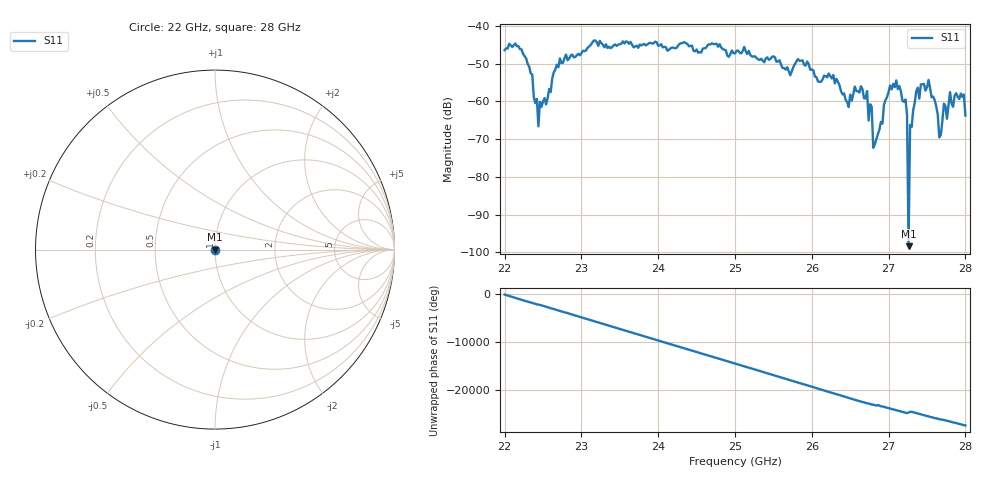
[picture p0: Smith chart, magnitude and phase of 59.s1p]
#  HZ  S  RI  R  50.00
! Rohde & Schwarz ZVA40 4Ports - Version 3.90 - 1145.1110k42 SN: 100403
! Date: 2023-10-04 10:50:13
! Measurement: S12
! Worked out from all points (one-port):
!   301 points, 22 GHz to 28 GHz, reference 50 ohm
!   lowest |S11| = -98.4 dB at 27.26 GHz (marker M1), VSWR 1.00, Z = 50 + j0.000189 ohm
!   |S11| at or under -10 dB: start of sweep to end of sweep
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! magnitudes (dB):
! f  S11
! 22 GHz  -46.4
! 22.28 GHz  -48.6
! 22.42 GHz  -59.3
! 22.44 GHz  -66.6
! 22.46 GHz  -60.1
! 22.76 GHz  -49.8
! 23.5 GHz  -44.9
! 24.26 GHz  -45.2
! 25 GHz  -47.3
! 25.76 GHz  -50.9
! 26.5 GHz  -58.2
! 26.72 GHz  -57.3
! 26.74 GHz  -65.1
! 26.78 GHz  -61.4
! 26.8 GHz  -72.3
! 27.1 GHz  -54.5
! 27.22 GHz  -59.5
! 27.24 GHz  -63.4
! 27.26 GHz  -98.4
! 27.28 GHz  -66.2
! 27.38 GHz  -56.4
! 27.52 GHz  -54.3
! 27.62 GHz  -61.3
! 27.66 GHz  -69.6
! 27.72 GHz  -60.6
! 27.8 GHz  -57.5
! 27.98 GHz  -58.2
! 28 GHz  -63.7
